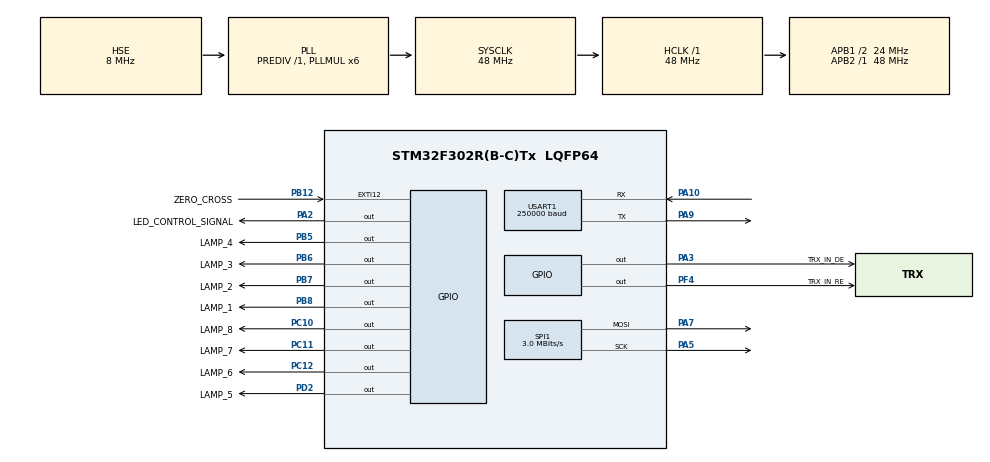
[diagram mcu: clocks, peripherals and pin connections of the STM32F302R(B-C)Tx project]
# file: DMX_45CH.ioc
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Dma.Request0=SPI1_TX
Dma.SPI1_TX.0.Direction=DMA_MEMORY_TO_PERIPH
Dma.SPI1_TX.0.Instance=DMA1_Channel3
Dma.SPI1_TX.0.MemDataAlignment=DMA_MDATAALIGN_BYTE
Dma.SPI1_TX.0.MemInc=DMA_MINC_ENABLE
Dma.SPI1_TX.0.Mode=DMA_CIRCULAR
Dma.SPI1_TX.0.PeriphDataAlignment=DMA_PDATAALIGN_BYTE
Dma.SPI1_TX.0.PeriphInc=DMA_PINC_DISABLE
Dma.SPI1_TX.0.Priority=DMA_PRIORITY_LOW
Mcu.Family=STM32F3
Mcu.Name=STM32F302R(B-C)Tx
Mcu.Package=LQFP64
NVIC.DMA1_Channel3_IRQn=true\:0\:0\:false\:false\:true\:false\:true\:true
NVIC.EXTI15_10_IRQn=true\:0\:0\:false\:false\:true\:true\:true\:true
NVIC.PriorityGroup=NVIC_PRIORITYGROUP_4
NVIC.TIM6_DAC_IRQn=true\:0\:0\:false\:false\:true\:true\:true\:true
NVIC.USART1_IRQn=true\:0\:0\:false\:false\:true\:true\:true\:true
PA10.Mode=LIN
PA10.Signal=USART1_RX
PA13.Mode=JTAG_5_pins
PA13.Signal=SYS_JTMS-SWDIO
PA14.Mode=JTAG_5_pins
PA14.Signal=SYS_JTCK-SWCLK
PA15.Mode=JTAG_5_pins
PA15.Signal=SYS_JTDI
PA2.GPIO_Label=LED_CONTROL_SIGNAL
PA2.PinState=GPIO_PIN_RESET
PA2.Signal=GPIO_Output
PA3.GPIO_Label=TRX_IN_DE
PA3.GPIO_PuPd=GPIO_PULLUP
PA3.Signal=GPIO_Output
PA5.Mode=TX_Only_Simplex_Unidirect_Master
PA5.Signal=SPI1_SCK
PA7.Mode=TX_Only_Simplex_Unidirect_Master
PA7.Signal=SPI1_MOSI
PA9.Mode=LIN
PA9.Signal=USART1_TX
PB12.GPIO_Label=ZERO_CROSS
PB12.GPIO_ModeDefaultEXTI=GPIO_MODE_IT_RISING_FALLING
PB12.GPIO_PuPd=GPIO_PULLUP
PB12.Signal=GPXTI12
PB3.Mode=JTAG_5_pins
PB3.Signal=SYS_JTDO-TRACESWO
PB4.Mode=JTAG_5_pins
PB4.Signal=SYS_NJTRST
PB5.GPIO_Label=LAMP_4
PB5.GPIO_ModeDefaultOutputPP=GPIO_MODE_OUTPUT_OD
PB5.GPIO_PuPd=GPIO_NOPULL
PB5.PinState=GPIO_PIN_SET
PB5.Signal=GPIO_Output
PB6.GPIO_Label=LAMP_3
PB6.GPIO_ModeDefaultOutputPP=GPIO_MODE_OUTPUT_OD
PB6.GPIO_PuPd=GPIO_NOPULL
PB6.PinState=GPIO_PIN_SET
PB6.Signal=GPIO_Output
PB7.GPIO_Label=LAMP_2
PB7.GPIO_ModeDefaultOutputPP=GPIO_MODE_OUTPUT_OD
PB7.GPIO_PuPd=GPIO_NOPULL
PB7.PinState=GPIO_PIN_SET
PB7.Signal=GPIO_Output
PB8.GPIO_Label=LAMP_1
PB8.GPIO_ModeDefaultOutputPP=GPIO_MODE_OUTPUT_OD
PB8.GPIO_PuPd=GPIO_NOPULL
PB8.PinState=GPIO_PIN_SET
PB8.Signal=GPIO_Output
PC10.GPIO_Label=LAMP_8
PC10.GPIO_ModeDefaultOutputPP=GPIO_MODE_OUTPUT_OD
PC10.GPIO_PuPd=GPIO_NOPULL
PC10.PinState=GPIO_PIN_SET
PC10.Signal=GPIO_Output
PC11.GPIO_Label=LAMP_7
PC11.GPIO_ModeDefaultOutputPP=GPIO_MODE_OUTPUT_OD
PC11.GPIO_PuPd=GPIO_NOPULL
PC11.PinState=GPIO_PIN_SET
PC11.Signal=GPIO_Output
PC12.GPIO_Label=LAMP_6
PC12.GPIO_ModeDefaultOutputPP=GPIO_MODE_OUTPUT_OD
PC12.GPIO_PuPd=GPIO_NOPULL
PC12.PinState=GPIO_PIN_SET
PC12.Signal=GPIO_Output
PD2.GPIO_Label=LAMP_5
PD2.GPIO_ModeDefaultOutputPP=GPIO_MODE_OUTPUT_OD
PD2.GPIO_PuPd=GPIO_NOPULL
PD2.PinState=GPIO_PIN_SET
PD2.Signal=GPIO_Output
PF0-OSC_IN.Mode=HSE-External-Oscillator
PF0-OSC_IN.Signal=RCC_OSC_IN
PF1-OSC_OUT.Mode=HSE-External-Oscillator
PF1-OSC_OUT.Signal=RCC_OSC_OUT
PF4.GPIO_Label=TRX_IN_RE
PF4.GPIO_PuPd=GPIO_PULLUP
PF4.Signal=GPIO_Output
ProjectManager.HeapSize=0x200
ProjectManager.StackSize=0x400
ProjectManager.TargetToolchain=STM32CubeIDE
RCC.AHBFreq_Value=48000000
RCC.APB1CLKDivider=RCC_HCLK_DIV2
RCC.APB1Freq_Value=24000000
RCC.APB1TimFreq_Value=48000000
RCC.APB2Freq_Value=48000000
RCC.APB2TimFreq_Value=48000000
RCC.CortexFreq_Value=48000000
RCC.HCLKFreq_Value=48000000
RCC.HSE_VALUE=8000000
RCC.HSI_VALUE=8000000
RCC.LSE_VALUE=32768
RCC.PLLMUL=RCC_PLL_MUL6
RCC.PLLSourceVirtual=RCC_PLLSOURCE_HSE
RCC.SYSCLKFreq_VALUE=48000000
RCC.SYSCLKSourceVirtual=RCC_SYSCLKSOURCE_PLLCLK
RCC.USBFreq_Value=48000000
SPI1.BaudRatePrescaler=SPI_BAUDRATEPRESCALER_16
SPI1.CalculateBaudRate=3.0 MBits/s
SPI1.DataSize=SPI_DATASIZE_8BIT
SPI1.Direction=SPI_DIRECTION_2LINES
SPI1.Mode=SPI_MODE_MASTER
SPI1.VirtualType=VM_MASTER
TIM2.Period=0xFFFF
TIM2.Prescaler=987
TIM6.AutoReloadPreload=TIM_AUTORELOAD_PRELOAD_ENABLE
TIM6.Period=100
TIM6.Prescaler=480
USART1.BaudRate=250000
USART1.DataInvertParam=ADVFEATURE_DATAINV_DISABLE
USART1.Mode=MODE_TX_RX
USART1.OneBitSampling=UART_ONE_BIT_SAMPLE_ENABLE
USART1.OverrunDisableParam=ADVFEATURE_OVERRUN_DISABLE
USART1.RxPinLevelInvertParam=ADVFEATURE_RXINV_ENABLE
USART1.TxPinLevelInvertParam=ADVFEATURE_TXINV_ENABLE
USART1.VirtualMode-LIN=VM_ASYNC
VP_IWDG_VS_IWDG.Mode=IWDG_Activate
VP_TIM2_VS_ClockSourceINT.Mode=Internal
VP_TIM6_VS_ClockSourceINT.Mode=Enable_Timer
board=custom

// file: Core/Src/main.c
/* USER CODE BEGIN Header */
/**
  ******************************************************************************
  * @file           : main.c
  * @brief          : Main program body
  ******************************************************************************
  * @attention
  *
  * Copyright (c) 2026 STMicroelectronics.
  * All rights reserved.
  *
  * This software is licensed under terms that can be found in the LICENSE file
  * in the root directory of this software component.
  * If no LICENSE file comes with this software, it is provided AS-IS.
  *
  ******************************************************************************
  */
/* USER CODE END Header */
#include "main.h"

/* USER CODE BEGIN Includes */
#include "app_WS2811.h"
#include "app_Sequence.h"
#include "app_DMXCore.h"
#include "app_ACControl.h"
#include "app_SafeState.h"
/* USER CODE END Includes */

IWDG_HandleTypeDef hiwdg;

SPI_HandleTypeDef hspi1;
DMA_HandleTypeDef hdma_spi1_tx;

TIM_HandleTypeDef htim2;
TIM_HandleTypeDef htim6;

UART_HandleTypeDef huart1;

void SystemClock_Config(void);
static void MX_GPIO_Init(void);
static void MX_DMA_Init(void);
static void MX_SPI1_Init(void);
static void MX_TIM6_Init(void);
static void MX_USART1_UART_Init(void);
static void MX_TIM2_Init(void);
static void MX_IWDG_Init(void);
/* USER CODE BEGIN PFP */
extern void HAL_LIN_WaitBreak_IT(UART_HandleTypeDef *huart);
/* USER CODE END PFP */

/* USER CODE BEGIN 0 */
extern bool DMX2DMATransferFlag;

void HAL_UART_RxCpltCallback(UART_HandleTypeDef *huart)
{
  /* Prevent unused argument(s) compilation warning */
  UNUSED(huart);

  HAL_LIN_WaitBreak_IT(&huart1);
  rb_EnableSequenceFlag = false;
  HAL_TIM_Base_Stop_IT(&htim6);
  __HAL_TIM_SET_PRESCALER(&htim6,3662);
  __HAL_TIM_SET_AUTORELOAD(&htim6,10000);
  __HAL_TIM_SET_COUNTER(&htim6,0);
  HAL_TIM_Base_Start_IT(&htim6);

  DMX2DMATransferFlag = true;
}

void HAL_UART_LINBreakCallback(UART_HandleTypeDef *huart)
{
	uint16_t l_RXSize;

	if(huart1.RxState == HAL_UART_STATE_BUSY_RX)
	{
		(void)HAL_UART_AbortReceive(&huart1);
	}

	l_RXSize = (uint16_t)(DMX_StartAddress + N_Channels + 1u);
	if(l_RXSize > (uint16_t)N_RawChannels)
	{
		l_RXSize = (uint16_t)N_RawChannels;
	}

	HAL_UART_Receive_IT(&huart1, raw_DMX_Channels, l_RXSize);
}

/* USER CODE END 0 */

int main(void)
{

  /* MCU Configuration--------------------------------------------------------*/

  /* Reset of all peripherals, Initializes the Flash interface and the Systick. */
  HAL_Init();

  /* Configure the system clock */
  SystemClock_Config();

  /* Initialize all configured peripherals */
  MX_GPIO_Init();
  MX_DMA_Init();
  MX_SPI1_Init();
  MX_TIM6_Init();
  MX_USART1_UART_Init();
  MX_TIM2_Init();
  /* USER CODE BEGIN 2 */
  app_DMXCore_Init();
  /* Start IWDG after app_DMXCore_Init: avoids reset during initial Flash_Erase, ~410ms nominal timeout */
  MX_IWDG_Init();
  /* Runtime power limits from EEPROM (reads only, no erase) */
  app_Sequence_Init();
  app_ACControl_Init();
  HAL_TIM_Base_Start_IT(&htim6);
  app_WS2811_Init();
  HAL_SPI_Transmit_DMA(&hspi1, WS2811_Data, L_DATA_SIZE);
  HAL_LIN_WaitBreak_IT(&huart1);
  HAL_TIM_Base_Start(&htim2);
  HAL_NVIC_SetPriority(EXTI15_10_IRQn, 0, 0);
  HAL_NVIC_EnableIRQ(EXTI15_10_IRQn);
  /* USER CODE END 2 */

  /* Infinite loop */
  /* USER CODE BEGIN WHILE */
  while (1)
  {
    HAL_IWDG_Refresh(&hiwdg);
	  app_Sequence_Main();
	  app_DMX_DMATransfer();
	  app_WS2811_ConvertDMXData();
	  app_ACControl_MainFunction();

    /* USER CODE END WHILE */

  }
}

void SystemClock_Config(void)
{
  RCC_OscInitTypeDef RCC_OscInitStruct = {0};
  RCC_ClkInitTypeDef RCC_ClkInitStruct = {0};
  RCC_PeriphCLKInitTypeDef PeriphClkInit = {0};

  /** Initializes the RCC Oscillators according to the specified parameters
  * in the RCC_OscInitTypeDef structure.
  */
  RCC_OscInitStruct.OscillatorType = RCC_OSCILLATORTYPE_LSI|RCC_OSCILLATORTYPE_HSE;
  RCC_OscInitStruct.HSEState = RCC_HSE_ON;
  RCC_OscInitStruct.HSEPredivValue = RCC_HSE_PREDIV_DIV1;
  RCC_OscInitStruct.HSIState = RCC_HSI_ON;
  RCC_OscInitStruct.LSIState = RCC_LSI_ON;
  RCC_OscInitStruct.PLL.PLLState = RCC_PLL_ON;
  RCC_OscInitStruct.PLL.PLLSource = RCC_PLLSOURCE_HSE;
  RCC_OscInitStruct.PLL.PLLMUL = RCC_PLL_MUL6;
  if (HAL_RCC_OscConfig(&RCC_OscInitStruct) != HAL_OK)
  {
    Error_Handler();
  }

  /** Initializes the CPU, AHB and APB buses clocks
  */
  RCC_ClkInitStruct.ClockType = RCC_CLOCKTYPE_HCLK|RCC_CLOCKTYPE_SYSCLK
                              |RCC_CLOCKTYPE_PCLK1|RCC_CLOCKTYPE_PCLK2;
  RCC_ClkInitStruct.SYSCLKSource = RCC_SYSCLKSOURCE_PLLCLK;
  RCC_ClkInitStruct.AHBCLKDivider = RCC_SYSCLK_DIV1;
  RCC_ClkInitStruct.APB1CLKDivider = RCC_HCLK_DIV2;
  RCC_ClkInitStruct.APB2CLKDivider = RCC_HCLK_DIV1;

  if (HAL_RCC_ClockConfig(&RCC_ClkInitStruct, FLASH_LATENCY_1) != HAL_OK)
  {
    Error_Handler();
  }
  PeriphClkInit.PeriphClockSelection = RCC_PERIPHCLK_USART1;
  PeriphClkInit.Usart1ClockSelection = RCC_USART1CLKSOURCE_PCLK2;
  if (HAL_RCCEx_PeriphCLKConfig(&PeriphClkInit) != HAL_OK)
  {
    Error_Handler();
  }
}

static void MX_IWDG_Init(void)
{

  /* USER CODE BEGIN IWDG_Init 0 */
  __HAL_DBGMCU_FREEZE_IWDG();
  /* USER CODE END IWDG_Init 0 */

  hiwdg.Instance = IWDG;
  hiwdg.Init.Prescaler = IWDG_PRESCALER_4;
  hiwdg.Init.Window = 4095;
  hiwdg.Init.Reload = 4095;
  if (HAL_IWDG_Init(&hiwdg) != HAL_OK)
  {
    Error_Handler();
  }

}

static void MX_SPI1_Init(void)
{

  /* SPI1 parameter configuration*/
  hspi1.Instance = SPI1;
  hspi1.Init.Mode = SPI_MODE_MASTER;
  hspi1.Init.Direction = SPI_DIRECTION_2LINES;
  hspi1.Init.DataSize = SPI_DATASIZE_8BIT;
  hspi1.Init.CLKPolarity = SPI_POLARITY_LOW;
  hspi1.Init.CLKPhase = SPI_PHASE_1EDGE;
  hspi1.Init.NSS = SPI_NSS_SOFT;
  hspi1.Init.BaudRatePrescaler = SPI_BAUDRATEPRESCALER_16;
  hspi1.Init.FirstBit = SPI_FIRSTBIT_MSB;
  hspi1.Init.TIMode = SPI_TIMODE_DISABLE;
  hspi1.Init.CRCCalculation = SPI_CRCCALCULATION_DISABLE;
  hspi1.Init.CRCPolynomial = 7;
  hspi1.Init.CRCLength = SPI_CRC_LENGTH_DATASIZE;
  hspi1.Init.NSSPMode = SPI_NSS_PULSE_ENABLE;
  if (HAL_SPI_Init(&hspi1) != HAL_OK)
  {
    Error_Handler();
  }

}

static void MX_TIM2_Init(void)
{

  TIM_ClockConfigTypeDef sClockSourceConfig = {0};
  TIM_MasterConfigTypeDef sMasterConfig = {0};

  htim2.Instance = TIM2;
  htim2.Init.Prescaler = 987;
  htim2.Init.CounterMode = TIM_COUNTERMODE_UP;
  htim2.Init.Period = 0xFFFF;
  htim2.Init.ClockDivision = TIM_CLOCKDIVISION_DIV1;
  htim2.Init.AutoReloadPreload = TIM_AUTORELOAD_PRELOAD_DISABLE;
  if (HAL_TIM_Base_Init(&htim2) != HAL_OK)
  {
    Error_Handler();
  }
  sClockSourceConfig.ClockSource = TIM_CLOCKSOURCE_INTERNAL;
  if (HAL_TIM_ConfigClockSource(&htim2, &sClockSourceConfig) != HAL_OK)
  {
    Error_Handler();
  }
  sMasterConfig.MasterOutputTrigger = TIM_TRGO_RESET;
  sMasterConfig.MasterSlaveMode = TIM_MASTERSLAVEMODE_DISABLE;
  if (HAL_TIMEx_MasterConfigSynchronization(&htim2, &sMasterConfig) != HAL_OK)
  {
    Error_Handler();
  }

}

static void MX_TIM6_Init(void)
{

  TIM_MasterConfigTypeDef sMasterConfig = {0};

  htim6.Instance = TIM6;
  htim6.Init.Prescaler = 480;
  htim6.Init.CounterMode = TIM_COUNTERMODE_UP;
  htim6.Init.Period = 100;
  htim6.Init.AutoReloadPreload = TIM_AUTORELOAD_PRELOAD_ENABLE;
  if (HAL_TIM_Base_Init(&htim6) != HAL_OK)
  {
    Error_Handler();
  }
  sMasterConfig.MasterOutputTrigger = TIM_TRGO_RESET;
  sMasterConfig.MasterSlaveMode = TIM_MASTERSLAVEMODE_DISABLE;
  if (HAL_TIMEx_MasterConfigSynchronization(&htim6, &sMasterConfig) != HAL_OK)
  {
    Error_Handler();
  }

}

static void MX_USART1_UART_Init(void)
{

  huart1.Instance = USART1;
  huart1.Init.BaudRate = 250000;
  huart1.Init.WordLength = UART_WORDLENGTH_8B;
  huart1.Init.StopBits = UART_STOPBITS_1;
  huart1.Init.Parity = UART_PARITY_NONE;
  huart1.Init.Mode = UART_MODE_TX_RX;
  huart1.Init.HwFlowCtl = UART_HWCONTROL_NONE;
  huart1.Init.OverSampling = UART_OVERSAMPLING_16;
  huart1.Init.OneBitSampling = UART_ONE_BIT_SAMPLE_ENABLE;
  huart1.AdvancedInit.AdvFeatureInit = UART_ADVFEATURE_TXINVERT_INIT|UART_ADVFEATURE_RXINVERT_INIT
                              |UART_ADVFEATURE_RXOVERRUNDISABLE_INIT;
  huart1.AdvancedInit.TxPinLevelInvert = UART_ADVFEATURE_TXINV_ENABLE;
  huart1.AdvancedInit.RxPinLevelInvert = UART_ADVFEATURE_RXINV_ENABLE;
  huart1.AdvancedInit.OverrunDisable = UART_ADVFEATURE_OVERRUN_DISABLE;
  if (HAL_LIN_Init(&huart1, UART_LINBREAKDETECTLENGTH_10B) != HAL_OK)
  {
    Error_Handler();
  }

}

static void MX_DMA_Init(void)
{

  /* DMA controller clock enable */
  __HAL_RCC_DMA1_CLK_ENABLE();

  /* DMA interrupt init */
  /* DMA1_Channel3_IRQn interrupt configuration */
  HAL_NVIC_SetPriority(DMA1_Channel3_IRQn, 0, 0);
  HAL_NVIC_EnableIRQ(DMA1_Channel3_IRQn);

}

static void MX_GPIO_Init(void)
{
  GPIO_InitTypeDef GPIO_InitStruct = {0};

  /* GPIO Ports Clock Enable */
  __HAL_RCC_GPIOF_CLK_ENABLE();
  __HAL_RCC_GPIOA_CLK_ENABLE();
  __HAL_RCC_GPIOB_CLK_ENABLE();
  __HAL_RCC_GPIOC_CLK_ENABLE();
  __HAL_RCC_GPIOD_CLK_ENABLE();

  /*Configure GPIO pin Output Level */
  HAL_GPIO_WritePin(GPIOA, LED_CONTROL_SIGNAL_Pin|TRX_IN_DE_Pin, GPIO_PIN_RESET);

  /*Configure GPIO pin Output Level */
  HAL_GPIO_WritePin(TRX_IN_RE_GPIO_Port, TRX_IN_RE_Pin, GPIO_PIN_RESET);

  /*Configure GPIO pin Output Level */
  HAL_GPIO_WritePin(GPIOC, LAMP_8_Pin|LAMP_7_Pin|LAMP_6_Pin, GPIO_PIN_SET);

  /*Configure GPIO pin Output Level */
  HAL_GPIO_WritePin(LAMP_5_GPIO_Port, LAMP_5_Pin, GPIO_PIN_SET);

  /*Configure GPIO pin Output Level */
  HAL_GPIO_WritePin(GPIOB, LAMP_4_Pin|LAMP_3_Pin|LAMP_2_Pin|LAMP_1_Pin, GPIO_PIN_SET);

  /*Configure GPIO pin : LED_CONTROL_SIGNAL_Pin */
  GPIO_InitStruct.Pin = LED_CONTROL_SIGNAL_Pin;
  GPIO_InitStruct.Mode = GPIO_MODE_OUTPUT_PP;
  GPIO_InitStruct.Pull = GPIO_NOPULL;
  GPIO_InitStruct.Speed = GPIO_SPEED_FREQ_LOW;
  HAL_GPIO_Init(LED_CONTROL_SIGNAL_GPIO_Port, &GPIO_InitStruct);

  /*Configure GPIO pin : TRX_IN_DE_Pin */
  GPIO_InitStruct.Pin = TRX_IN_DE_Pin;
  GPIO_InitStruct.Mode = GPIO_MODE_OUTPUT_PP;
  GPIO_InitStruct.Pull = GPIO_PULLUP;
  GPIO_InitStruct.Speed = GPIO_SPEED_FREQ_LOW;
  HAL_GPIO_Init(TRX_IN_DE_GPIO_Port, &GPIO_InitStruct);

  /*Configure GPIO pin : TRX_IN_RE_Pin */
  GPIO_InitStruct.Pin = TRX_IN_RE_Pin;
  GPIO_InitStruct.Mode = GPIO_MODE_OUTPUT_PP;
  GPIO_InitStruct.Pull = GPIO_PULLUP;
  GPIO_InitStruct.Speed = GPIO_SPEED_FREQ_LOW;
  HAL_GPIO_Init(TRX_IN_RE_GPIO_Port, &GPIO_InitStruct);

  /*Configure GPIO pin : ZERO_CROSS_Pin */
  GPIO_InitStruct.Pin = ZERO_CROSS_Pin;
  GPIO_InitStruct.Mode = GPIO_MODE_IT_RISING_FALLING;
  GPIO_InitStruct.Pull = GPIO_PULLUP;
  HAL_GPIO_Init(ZERO_CROSS_GPIO_Port, &GPIO_InitStruct);

  /*Configure GPIO pins : LAMP_8_Pin LAMP_7_Pin LAMP_6_Pin */
  GPIO_InitStruct.Pin = LAMP_8_Pin|LAMP_7_Pin|LAMP_6_Pin;
  GPIO_InitStruct.Mode = GPIO_MODE_OUTPUT_OD;
  GPIO_InitStruct.Pull = GPIO_NOPULL;
  GPIO_InitStruct.Speed = GPIO_SPEED_FREQ_LOW;
  HAL_GPIO_Init(GPIOC, &GPIO_InitStruct);

  /*Configure GPIO pin : LAMP_5_Pin */
  GPIO_InitStruct.Pin = LAMP_5_Pin;
  GPIO_InitStruct.Mode = GPIO_MODE_OUTPUT_OD;
  GPIO_InitStruct.Pull = GPIO_NOPULL;
  GPIO_InitStruct.Speed = GPIO_SPEED_FREQ_LOW;
  HAL_GPIO_Init(LAMP_5_GPIO_Port, &GPIO_InitStruct);

  /*Configure GPIO pins : LAMP_4_Pin LAMP_3_Pin LAMP_2_Pin LAMP_1_Pin */
  GPIO_InitStruct.Pin = LAMP_4_Pin|LAMP_3_Pin|LAMP_2_Pin|LAMP_1_Pin;
  GPIO_InitStruct.Mode = GPIO_MODE_OUTPUT_OD;
  GPIO_InitStruct.Pull = GPIO_NOPULL;
  GPIO_InitStruct.Speed = GPIO_SPEED_FREQ_LOW;
  HAL_GPIO_Init(GPIOB, &GPIO_InitStruct);

  /* EXTI interrupt init*/
  HAL_NVIC_SetPriority(EXTI15_10_IRQn, 0, 0);
  HAL_NVIC_EnableIRQ(EXTI15_10_IRQn);

  /* USER CODE BEGIN MX_GPIO_Init_2 */
  /* ZERO_CROSS EXTI disabled until TIM2 (AC phase timer) is initialized (re-enabled in main) */
  HAL_NVIC_DisableIRQ(EXTI15_10_IRQn);

  /* LED_CONTROL_SIGNAL (PA2) level: default LOW (HW Con Resistencia).
     Enabled HIGH only for HW Sin Resistencia.
     Configured via preprocessor define per build configuration. */
#ifdef HW_SIN_RESISTENCIA
  HAL_GPIO_WritePin(LED_CONTROL_SIGNAL_GPIO_Port, LED_CONTROL_SIGNAL_Pin, GPIO_PIN_SET);
#else
  HAL_GPIO_WritePin(LED_CONTROL_SIGNAL_GPIO_Port, LED_CONTROL_SIGNAL_Pin, GPIO_PIN_RESET);
#endif
  /* USER CODE END MX_GPIO_Init_2 */
}

void Error_Handler(void)
{
  /* USER CODE BEGIN Error_Handler_Debug */
  /* User can add his own implementation to report the HAL error return state */
  app_SafeState_OutputsOff();
  __disable_irq();
  NVIC_SystemReset();
  while (1)
  {
  }
  /* USER CODE END Error_Handler_Debug */
}
